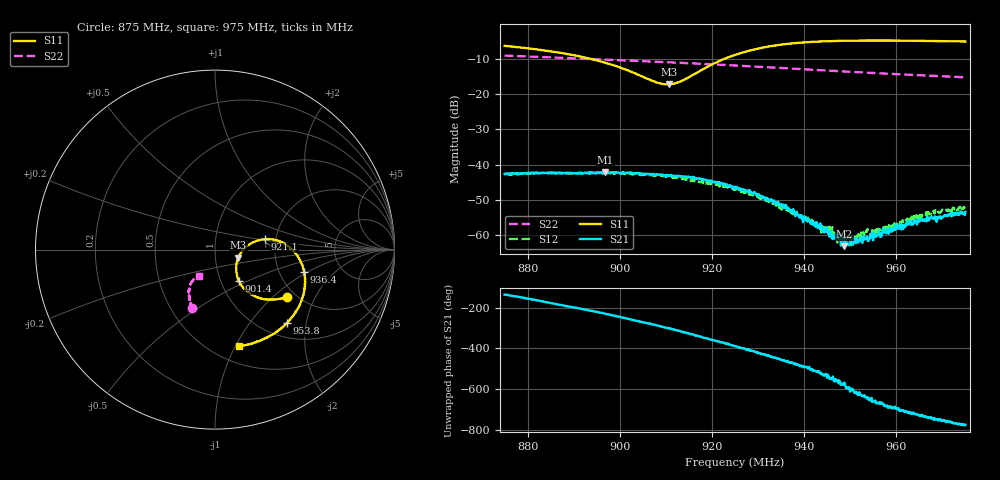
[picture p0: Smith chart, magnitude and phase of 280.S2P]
! C:\Users\rflab\Downloads\Lab5_KD_ZW\Q3\280.S2P
! Touchstone 1.1 file saved by VNA.EXE V1.65 (www.ke5fx.com/gpib/readme.htm)
! 11/18/2024 10:39:01 PM
!  Source: HEWLETT PACKARD,8753D,0,6.14
!  Min freq: 8.750000E+008 Hz
!  Max freq: 9.750200E+008 Hz
!  Points: 801
!  Params: S11 S21 S12 S22
# GHZ S MA R 50
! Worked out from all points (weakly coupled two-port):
!   801 points, 875 MHz to 975 MHz, reference 50 ohm
!   highest |S21| = -42.08 dB at 896.9 MHz (marker M1); lowest = -63.1 dB at 948.8 MHz (marker M2)
!   lowest |S11| = -17.3 dB at 910.6 MHz (marker M3), VSWR 1.32, Z = 64.5 - j5.9 ohm
!   |S11| at or under -10 dB: 893.6 MHz to 922.8 MHz (29.2 MHz wide, 3.22 % of centre)
!   |S22| runs from -15.3 to -9.1 dB; largest |S21 - S12| = 0.0015
!   S11 on the Smith chart (normalised r, x): 875 MHz: 1.81, -1.24; 901.4 MHz: 1.22, -0.45; 921.1 MHz: 1.75, +0.22; 936.4 MHz: 2.74, -0.94; 953.8 MHz: 1.27, -1.55; 975 MHz: 0.67, -1.03
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0.875  0.4811 -33.1  0.007394 -135.9  0.007226 -124.4  0.3501 -111.2
0.8917534  0.3367 -49.9  0.007462 154.7  0.007509 161.1  0.3176 -116.3
0.8968794  0.2768 -53.1  0.00787 130.0  0.007607 136.0  0.3072 -117.8
0.9013803  0.2205 -52.9  0.007641 108.4  0.007513 114.0  0.2987 -118.9
0.9083817  0.1437 -33.1  0.007266 71.3  0.006857 77.4  0.2857 -120.6
0.9106321  0.1368 -19.1  0.006994 57.7  0.006814 65.0  0.2812 -121.1
0.9135077  0.1538 -1.6  0.006776 41.8  0.006327 47.1  0.2751 -121.7
0.9211342  0.2846 11.8  0.005617 -5.6  0.005216 4.2  0.2612 -123.3
0.92501  0.3578 7.7  0.004861 -28.8  0.004579 -21.1  0.2538 -124.2
0.9363873  0.5131 -14.3  0.002399 -101.4  0.002488 -92.9  0.2309 -125.6
0.9417633  0.5472 -24.8  0.001578 -142.1  0.001655 -138.2  0.2209 -125.8
0.9460142  0.5627 -32.6  0.000907 167.8  0.001177 -174.6  0.2133 -125.8
0.9471394  0.5646 -34.7  0.000879 159.6  0.000932 179.7  0.2115 -125.7
0.9481396  0.5678 -36.4  0.000938 144.9  0.001023 163.1  0.2098 -125.8
0.9487648  0.568 -37.4  0.000701 151.4  0.000923 144.1  0.2089 -125.8
0.9496399  0.5689 -38.9  0.000751 127.6  0.000952 133.4  0.2074 -125.8
0.9505151  0.5694 -40.4  0.000843 117.7  0.000916 126.8  0.2057 -125.7
0.9537657  0.5722 -45.7  0.000874 70.7  0.00123 83.9  0.2006 -125.5
0.9547659  0.5725 -47.2  0.001087 55.6  0.001179 75.0  0.1991 -125.3
0.9583917  0.5732 -52.7  0.001057 30.1  0.001346 44.4  0.1937 -125.1
0.9627676  0.5689 -59.0  0.001514 0.5  0.001692 14.7  0.1878 -124.5
0.97502  0.5544 -76.0  0.002146 -56.7  0.002503 -58.7  0.1723 -122.2
